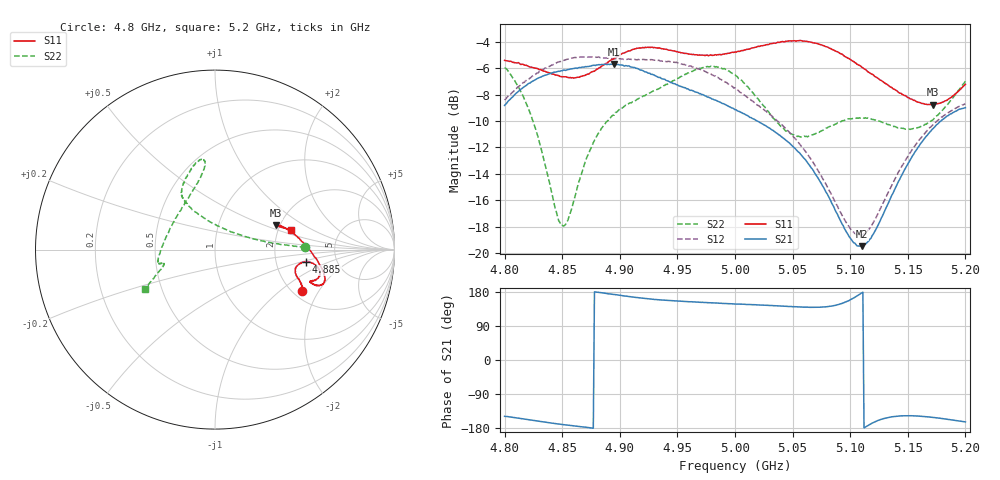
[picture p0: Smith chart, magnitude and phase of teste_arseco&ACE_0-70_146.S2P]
! Network Analyzer HP8722D
! Hewlett-Packard
! Data name: Linha & Wilkinson
! Saver's name: Rodrigo Anjos
! Comments: Teste da utilização de aquisição
! continua pelo VNA HP8722D
! Time and date: 8/5/2025 13:58
!  Frequency  S11  S21  S12  S22
# HZ  S  MA R 50
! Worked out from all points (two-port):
!   401 points, 4.8 GHz to 5.2 GHz, reference 50 ohm
!   highest |S21| = -5.70 dB at 4.895 GHz (marker M1); lowest = -19.5 dB at 5.11 GHz (marker M2)
!   |S21| within 3 dB of the highest: 4.801 GHz to 4.99 GHz (188.9 MHz wide, 3.86 % of centre)
!   lowest |S11| = -8.8 dB at 5.172 GHz (marker M3), VSWR 2.15, Z = 94.9 + j29.9 ohm
!   |S11| at or under -10 dB: nowhere
!   |S22| runs from -17.9 to -5.9 dB; largest |S21 - S12| = 1.1
!   S11 on the Smith chart (normalised r, x): 4.8 GHz: 2.24, -1.44; 4.885 GHz: 2.98, -0.57; 5.2 GHz: 2.33, +0.64
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4.8e9  0.5358 -25.4  0.362 -148.6  0.3795 10.7  0.5034 1.5
4.812e9  0.5258 -22.6  0.4092 -153.4  0.4266 9.0  0.4252 2.7
4.823e9  0.5057 -20.5  0.4436 -158.4  0.4623 7.6  0.331 6.1
4.849e9  0.4657 -16.1  0.4897 -169.8  0.5312 3.3  0.1275 57.8
4.855e9  0.4616 -14.6  0.4947 -172.0  0.5413 2.4  0.1332 84.5
4.867e9  0.4666 -11.1  0.5048 -176.3  0.5516 0.8  0.201 112.3
4.885e9  0.5121 -7.9  0.5172 177.0  0.5475 -0.6  0.2999 121.0
4.895e9  0.5467 -8.1  0.519 172.9  0.5429 -0.5  0.3324 122.0
4.914e9  0.5934 -11.3  0.5002 165.1  0.5389 -0.1  0.3782 119.5
4.934e9  0.5971 -15.5  0.4618 158.8  0.5365 -1.3  0.4189 113.5
4.974e9  0.559 -18.5  0.3935 151.6  0.4866 -4.9  0.5045 99.8
5e9  0.5768 -19.2  0.3486 147.7  0.4227 -5.0  0.4725 97.1
5.018e9  0.6009 -19.2  0.3183 145.8  0.3675 -2.4  0.3925 103.8
5.044e9  0.6325 -17.5  0.268 141.8  0.2956 3.1  0.2898 131.2
5.067e9  0.6263 -13.2  0.2085 139.1  0.2234 9.5  0.2804 164.5
5.098e9  0.5465 -2.9  0.1179 155.8  0.1278 36.7  0.3218 -170.5
5.11e9  0.505 2.7  0.1063 177.0  0.1172 60.4  0.3246 -166.8
5.12e9  0.473 7.8  0.118 -165.3  0.1304 79.3  0.3204 -165.9
5.134e9  0.4283 14.1  0.1579 -150.8  0.1729 94.8  0.3062 -165.6
5.154e9  0.3812 20.8  0.2331 -147.3  0.2472 101.8  0.2953 -164.3
5.172e9  0.3647 22.0  0.2959 -151.5  0.3063 102.9  0.3198 -160.0
5.2e9  0.4353 14.9  0.3551 -163.4  0.3675 103.1  0.447 -150.4
